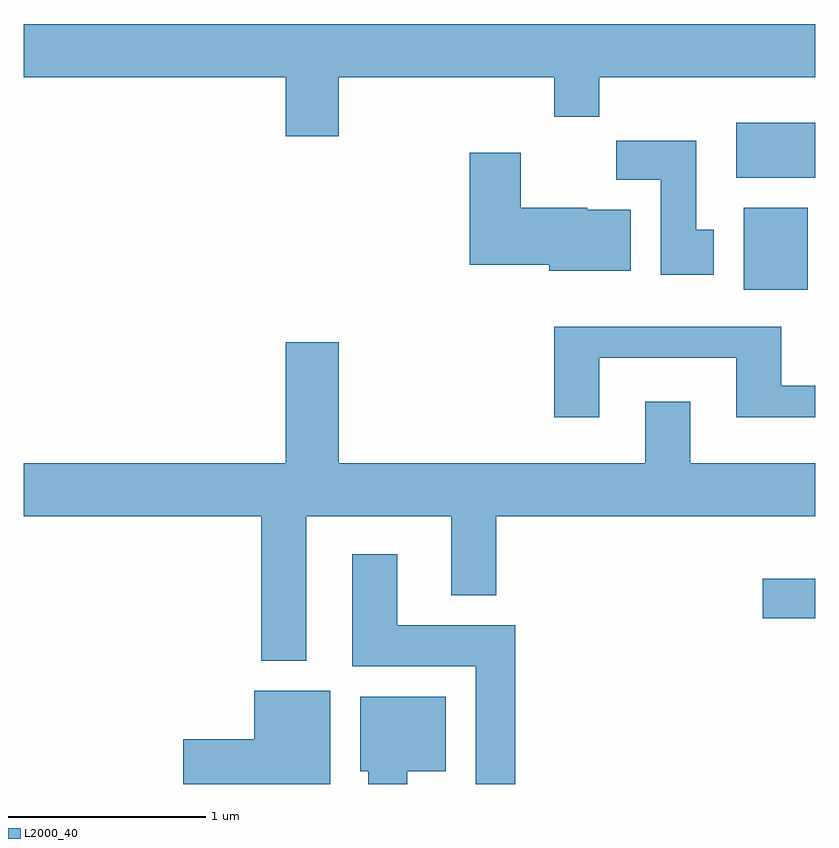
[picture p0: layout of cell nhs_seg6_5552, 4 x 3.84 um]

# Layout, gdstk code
import gdstk
lib = gdstk.Library(unit=1e-6, precision=1e-09)
def R(c, l, rs):  # rectangles x0, y0, x1, y1
    for r in rs: c.add(gdstk.rectangle(r[:2], r[2:], *l))
def P(c, l, *ps):  # polygons
    for p in ps: c.add(gdstk.Polygon(p, *l))
L2000_40 = (2000, 40)

nhs_seg6_5552 = lib.new_cell('nhs_seg6_5552')
R(nhs_seg6_5552, L2000_40, [(357.346,1625.001,357.611,1625.199), (357.251,1626.661,357.574,1627.074), (357.211,1627.226,357.611,1627.504)])
P(nhs_seg6_5552, L2000_40, [(355.204,1627.736),(356.291,1627.736),(356.291,1627.536),(356.519,1627.536),(356.519,1627.736),(357.611,1627.736),(357.611,1628.004),(353.611,1628.004),(353.611,1627.736),(354.936,1627.736),(354.936,1627.436),(355.204,1627.436)],
  [(357.099,1626.964),(357.009,1626.964),(357.009,1627.414),(356.606,1627.414),(356.606,1627.216),(356.831,1627.216),(356.831,1626.736),(357.099,1626.736)],
  [(356.679,1627.064),(356.46,1627.064),(356.46,1627.074),(356.124,1627.074),(356.124,1627.354),(355.866,1627.354),(355.866,1626.786),(356.266,1626.786),(356.266,1626.756),(356.679,1626.756)],
  [(356.519,1626.316),(357.211,1626.316),(357.211,1626.016),(357.611,1626.016),(357.611,1626.174),(357.439,1626.174),(357.439,1626.474),(356.291,1626.474),(356.291,1626.016),(356.519,1626.016)],
  [(355.039,1625.516),(355.771,1625.516),(355.771,1625.116),(355.999,1625.116),(355.999,1625.516),(357.611,1625.516),(357.611,1625.784),(356.979,1625.784),(356.979,1626.094),(356.751,1626.094),(356.751,1625.784),(355.204,1625.784),(355.204,1626.394),(354.936,1626.394),(354.936,1625.784),(353.611,1625.784),(353.611,1625.516),(354.811,1625.516),(354.811,1624.786),(355.039,1624.786)],
  [(356.094,1624.964),(355.499,1624.964),(355.499,1625.324),(355.271,1625.324),(355.271,1624.756),(355.896,1624.756),(355.896,1624.162),(356.094,1624.162)],
  [(355.159,1624.634),(354.776,1624.634),(354.776,1624.389),(354.416,1624.389),(354.416,1624.162),(355.159,1624.162)],
  [(355.549,1624.226),(355.744,1624.226),(355.744,1624.604),(355.311,1624.604),(355.311,1624.226),(355.351,1624.226),(355.351,1624.162),(355.549,1624.162)])

lib.write_gds('nhs_seg6_5552.gds')
